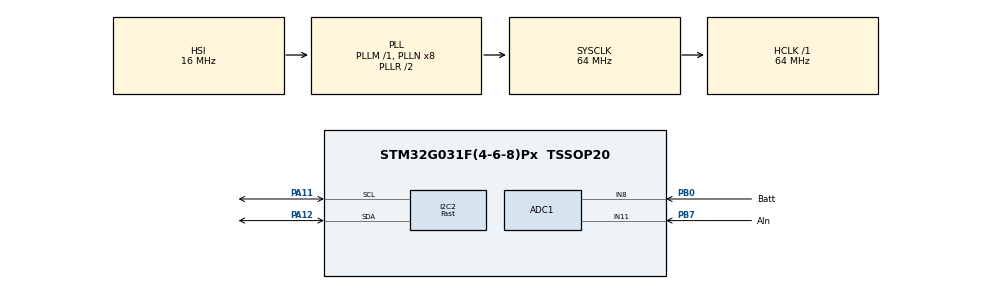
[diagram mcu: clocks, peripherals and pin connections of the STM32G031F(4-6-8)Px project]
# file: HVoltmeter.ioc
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Mcu.Family=STM32G0
PA11\ [PA9].Mode=I2C
Dma.ADC1.0.Instance=DMA1_Channel1
RCC.CortexFreq_Value=64000000
Dma.ADC1.0.SyncRequestNumber=1
Dma.ADC1.0.Polarity=HAL_DMAMUX_REQ_GEN_RISING
PA12\ [PA10].Mode=I2C
I2C2.Timing=0x00602173
RCC.EXTERNAL_CLOCK_VALUE=12288000
VP_TIM16_VS_ClockSourceINT.Mode=Enable_Timer
PB0.GPIO_Label=Batt
NVIC.TIM16_IRQn=true\:0\:0\:false\:false\:true\:true\:true
ADC1.SamplingTimeCommon2=ADC_SAMPLETIME_160CYCLES_5
ADC1.SamplingTimeCommon1=ADC_SAMPLETIME_160CYCLES_5
ADC1.SamplingTime-2\#ChannelRegularConversion=ADC_SAMPLINGTIME_COMMON_1
RCC.SYSCLKSource=RCC_SYSCLKSOURCE_PLLCLK
ProjectManager.StackSize=0x400
Dma.ADC1.0.PeriphDataAlignment=DMA_PDATAALIGN_HALFWORD
ProjectManager.TargetToolchain=STM32CubeIDE
Dma.ADC1.0.Mode=DMA_NORMAL
Dma.ADC1.0.SignalID=NONE
RCC.HCLKFreq_Value=64000000
Dma.ADC1.0.SyncSignalID=NONE
PA12\ [PA10].Signal=I2C2_SDA
Dma.ADC1.0.Priority=DMA_PRIORITY_LOW
I2C2.I2C_Speed_Mode=I2C_Fast
ADC1.Channel-1\#ChannelRegularConversion=ADC_CHANNEL_8
Dma.ADC1.0.Direction=DMA_PERIPH_TO_MEMORY
ADC1.Channel-2\#ChannelRegularConversion=ADC_CHANNEL_11
RCC.LSE_VALUE=32768
Dma.ADC1.0.MemDataAlignment=DMA_MDATAALIGN_HALFWORD
RCC.AHBFreq_Value=64000000
RCC.HSE_VALUE=8000000
PB0.Mode=IN8
board=custom
RCC.VCOOutputFreq_Value=128000000
Dma.ADC1.0.SyncPolarity=HAL_DMAMUX_SYNC_NO_EVENT
ADC1.Rank-2\#ChannelRegularConversion=2
Dma.ADC1.0.PeriphInc=DMA_PINC_DISABLE
RCC.ADCFreq_Value=64000000
PB7.Signal=ADC1_IN11
ADC1.NbrOfConversion=2
PA11\ [PA9].Signal=I2C2_SCL
Mcu.Name=STM32G031F(4-6-8)Px
PB7.GPIO_Label=AIn
ADC1.SelectedChannel=ADC_CHANNEL_8|ADC_CHANNEL_11
ADC1.SamplingTime-1\#ChannelRegularConversion=ADC_SAMPLINGTIME_COMMON_1
RCC.SYSCLKFreq_VALUE=64000000
Mcu.Package=TSSOP20
ADC1.master=1
ADC1.Rank-1\#ChannelRegularConversion=1
Dma.ADC1.0.RequestNumber=1
PB7.Mode=IN11
Dma.ADC1.0.SyncEnable=DISABLE
Dma.ADC1.0.MemInc=DMA_MINC_ENABLE
ProjectManager.HeapSize=0x200
RCC.HSI_VALUE=16000000
ADC1.NbrOfConversionFlag=1
TIM16.AutoReloadPreload=TIM_AUTORELOAD_PRELOAD_ENABLE
NVIC.DMA1_Channel1_IRQn=true\:0\:0\:false\:false\:true\:false\:true
TIM16.Prescaler=100
Dma.Request0=ADC1
PB0.Signal=ADC1_IN8
Dma.ADC1.0.EventEnable=DISABLE

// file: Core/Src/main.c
/* USER CODE BEGIN Header */
/**
  ******************************************************************************
  * @file           : main.c
  * @brief          : Main program body
  ******************************************************************************
  * @attention
  *
  * <h2><center>&copy; Copyright (c) 2022 STMicroelectronics.
  * All rights reserved.</center></h2>
  *
  * This software component is licensed by ST under BSD 3-Clause license,
  * the "License"; You may not use this file except in compliance with the
  * License. You may obtain a copy of the License at:
  *                        opensource.org/licenses/BSD-3-Clause
  *
  ******************************************************************************
  */
/* USER CODE END Header */
#include "main.h"

/* USER CODE BEGIN PM */
char text1306[11];
/* USER CODE END PM */

ADC_HandleTypeDef hadc1;
DMA_HandleTypeDef hdma_adc1;

I2C_HandleTypeDef hi2c2;

TIM_HandleTypeDef htim16;

void SystemClock_Config(void);
static void MX_GPIO_Init(void);
static void MX_DMA_Init(void);
static void MX_I2C2_Init(void);
static void MX_TIM16_Init(void);
static void MX_ADC1_Init(void);

int main(void)
{

  /* MCU Configuration--------------------------------------------------------*/

  /* Reset of all peripherals, Initializes the Flash interface and the Systick. */
  HAL_Init();

  /* Configure the system clock */
  SystemClock_Config();

  /* Initialize all configured peripherals */
  MX_GPIO_Init();
  MX_DMA_Init();
  MX_I2C2_Init();
  MX_TIM16_Init();
  MX_ADC1_Init();
  /* USER CODE BEGIN 2 */
  /* ssd1306 init*/
  ssd1306_Init();
  HV = 0;
  LV = 0;
  HAL_TIM_Base_Start_IT(&htim16);
  /* USER CODE END 2 */

  /* Infinite loop */
  /* USER CODE BEGIN WHILE */
  while (1)
  {
	  ssd1306_Fill(Black);
	  ssd1306_SetCursor(0, 0);
	  sprintf(text1306, "Bat:%6.3f", LV);
	  ssd1306_WriteString(text1306, Font_6x8, White);
	  ssd1306_SetCursor(0, 8);
	  sprintf(text1306, "HV : %5.0f", HV);
	  ssd1306_WriteString(text1306, Font_6x8, White);
	  ssd1306_SetCursor(0, 16);
	  sprintf(text1306, "Max: %5.0f", HVmax);
	  ssd1306_WriteString(text1306, Font_6x8, White);
	  ssd1306_SetCursor(0, 24);
	  sprintf(text1306, "Min: %5.0f", HVmin);
	  ssd1306_WriteString(text1306, Font_6x8, White);
	  ssd1306_UpdateScreen();
	  HAL_Delay(100);
    /* USER CODE END WHILE */

  }
}

void SystemClock_Config(void)
{
  RCC_OscInitTypeDef RCC_OscInitStruct = {0};
  RCC_ClkInitTypeDef RCC_ClkInitStruct = {0};
  RCC_PeriphCLKInitTypeDef PeriphClkInit = {0};

  /** Configure the main internal regulator output voltage
  */
  HAL_PWREx_ControlVoltageScaling(PWR_REGULATOR_VOLTAGE_SCALE1);
  /** Initializes the RCC Oscillators according to the specified parameters
  * in the RCC_OscInitTypeDef structure.
  */
  RCC_OscInitStruct.OscillatorType = RCC_OSCILLATORTYPE_HSI;
  RCC_OscInitStruct.HSIState = RCC_HSI_ON;
  RCC_OscInitStruct.HSIDiv = RCC_HSI_DIV1;
  RCC_OscInitStruct.HSICalibrationValue = RCC_HSICALIBRATION_DEFAULT;
  RCC_OscInitStruct.PLL.PLLState = RCC_PLL_ON;
  RCC_OscInitStruct.PLL.PLLSource = RCC_PLLSOURCE_HSI;
  RCC_OscInitStruct.PLL.PLLM = RCC_PLLM_DIV1;
  RCC_OscInitStruct.PLL.PLLN = 8;
  RCC_OscInitStruct.PLL.PLLP = RCC_PLLP_DIV2;
  RCC_OscInitStruct.PLL.PLLQ = RCC_PLLQ_DIV2;
  RCC_OscInitStruct.PLL.PLLR = RCC_PLLR_DIV2;
  if (HAL_RCC_OscConfig(&RCC_OscInitStruct) != HAL_OK)
  {
    Error_Handler();
  }
  /** Initializes the CPU, AHB and APB buses clocks
  */
  RCC_ClkInitStruct.ClockType = RCC_CLOCKTYPE_HCLK|RCC_CLOCKTYPE_SYSCLK
                              |RCC_CLOCKTYPE_PCLK1;
  RCC_ClkInitStruct.SYSCLKSource = RCC_SYSCLKSOURCE_PLLCLK;
  RCC_ClkInitStruct.AHBCLKDivider = RCC_SYSCLK_DIV1;
  RCC_ClkInitStruct.APB1CLKDivider = RCC_HCLK_DIV1;

  if (HAL_RCC_ClockConfig(&RCC_ClkInitStruct, FLASH_LATENCY_2) != HAL_OK)
  {
    Error_Handler();
  }
  /** Initializes the peripherals clocks
  */
  PeriphClkInit.PeriphClockSelection = RCC_PERIPHCLK_ADC;
  PeriphClkInit.AdcClockSelection = RCC_ADCCLKSOURCE_SYSCLK;
  if (HAL_RCCEx_PeriphCLKConfig(&PeriphClkInit) != HAL_OK)
  {
    Error_Handler();
  }
}

static void MX_ADC1_Init(void)
{

  ADC_ChannelConfTypeDef sConfig = {0};

  /** Configure the global features of the ADC (Clock, Resolution, Data Alignment and number of conversion)
  */
  hadc1.Instance = ADC1;
  hadc1.Init.ClockPrescaler = ADC_CLOCK_SYNC_PCLK_DIV4;
  hadc1.Init.Resolution = ADC_RESOLUTION_12B;
  hadc1.Init.DataAlign = ADC_DATAALIGN_RIGHT;
  hadc1.Init.ScanConvMode = ADC_SCAN_ENABLE;
  hadc1.Init.EOCSelection = ADC_EOC_SINGLE_CONV;
  hadc1.Init.LowPowerAutoWait = DISABLE;
  hadc1.Init.LowPowerAutoPowerOff = DISABLE;
  hadc1.Init.ContinuousConvMode = DISABLE;
  hadc1.Init.NbrOfConversion = 2;
  hadc1.Init.DiscontinuousConvMode = DISABLE;
  hadc1.Init.ExternalTrigConv = ADC_SOFTWARE_START;
  hadc1.Init.ExternalTrigConvEdge = ADC_EXTERNALTRIGCONVEDGE_NONE;
  hadc1.Init.DMAContinuousRequests = DISABLE;
  hadc1.Init.Overrun = ADC_OVR_DATA_PRESERVED;
  hadc1.Init.SamplingTimeCommon1 = ADC_SAMPLETIME_160CYCLES_5;
  hadc1.Init.SamplingTimeCommon2 = ADC_SAMPLETIME_160CYCLES_5;
  hadc1.Init.OversamplingMode = DISABLE;
  hadc1.Init.TriggerFrequencyMode = ADC_TRIGGER_FREQ_HIGH;
  if (HAL_ADC_Init(&hadc1) != HAL_OK)
  {
    Error_Handler();
  }
  /** Configure Regular Channel
  */
  sConfig.Channel = ADC_CHANNEL_8;
  sConfig.Rank = ADC_REGULAR_RANK_1;
  sConfig.SamplingTime = ADC_SAMPLINGTIME_COMMON_1;
  if (HAL_ADC_ConfigChannel(&hadc1, &sConfig) != HAL_OK)
  {
    Error_Handler();
  }
  /** Configure Regular Channel
  */
  sConfig.Channel = ADC_CHANNEL_11;
  sConfig.Rank = ADC_REGULAR_RANK_2;
  if (HAL_ADC_ConfigChannel(&hadc1, &sConfig) != HAL_OK)
  {
    Error_Handler();
  }
  /* USER CODE BEGIN ADC1_Init 2 */
  while (HAL_ADCEx_Calibration_Start(&hadc1) != HAL_OK);
  /* USER CODE END ADC1_Init 2 */

}

static void MX_I2C2_Init(void)
{

  hi2c2.Instance = I2C2;
  hi2c2.Init.Timing = 0x00602173;
  hi2c2.Init.OwnAddress1 = 0;
  hi2c2.Init.AddressingMode = I2C_ADDRESSINGMODE_7BIT;
  hi2c2.Init.DualAddressMode = I2C_DUALADDRESS_DISABLE;
  hi2c2.Init.OwnAddress2 = 0;
  hi2c2.Init.OwnAddress2Masks = I2C_OA2_NOMASK;
  hi2c2.Init.GeneralCallMode = I2C_GENERALCALL_DISABLE;
  hi2c2.Init.NoStretchMode = I2C_NOSTRETCH_DISABLE;
  if (HAL_I2C_Init(&hi2c2) != HAL_OK)
  {
    Error_Handler();
  }
  /** Configure Analogue filter
  */
  if (HAL_I2CEx_ConfigAnalogFilter(&hi2c2, I2C_ANALOGFILTER_ENABLE) != HAL_OK)
  {
    Error_Handler();
  }
  /** Configure Digital filter
  */
  if (HAL_I2CEx_ConfigDigitalFilter(&hi2c2, 0) != HAL_OK)
  {
    Error_Handler();
  }

}

static void MX_TIM16_Init(void)
{

  htim16.Instance = TIM16;
  htim16.Init.Prescaler = 100;
  htim16.Init.CounterMode = TIM_COUNTERMODE_UP;
  htim16.Init.Period = 65535;
  htim16.Init.ClockDivision = TIM_CLOCKDIVISION_DIV1;
  htim16.Init.RepetitionCounter = 0;
  htim16.Init.AutoReloadPreload = TIM_AUTORELOAD_PRELOAD_ENABLE;
  if (HAL_TIM_Base_Init(&htim16) != HAL_OK)
  {
    Error_Handler();
  }

}

static void MX_DMA_Init(void)
{

  /* DMA controller clock enable */
  __HAL_RCC_DMA1_CLK_ENABLE();

  /* DMA interrupt init */
  /* DMA1_Channel1_IRQn interrupt configuration */
  HAL_NVIC_SetPriority(DMA1_Channel1_IRQn, 0, 0);
  HAL_NVIC_EnableIRQ(DMA1_Channel1_IRQn);

}

static void MX_GPIO_Init(void)
{

  /* GPIO Ports Clock Enable */
  __HAL_RCC_GPIOB_CLK_ENABLE();
  __HAL_RCC_GPIOA_CLK_ENABLE();

}

/* USER CODE BEGIN 4 */
/*
//void HAL_ADC_ConvCpltCallback(ADC_HandleTypeDef *AdcHandle) {
//void HAL_ADC_ConvHalfCpltCallback(ADC_HandleTypeDef* hadc) {
//void ADC_DMAConvCplt(DMA_HandleTypeDef *hdma) {
	HAL_ADC_Stop_DMA(&hadc1);
	HVolts.HVolt = adcBufer[0];
	LVolts.LVolt = adcBufer[1];
	HVmin++;

}
*/
/* USER CODE END 4 */

void Error_Handler(void)
{
  __disable_irq();
  while (1)
  {
  }
}

/************************ (C) COPYRIGHT STMicroelectronics *****END OF FILE****/
